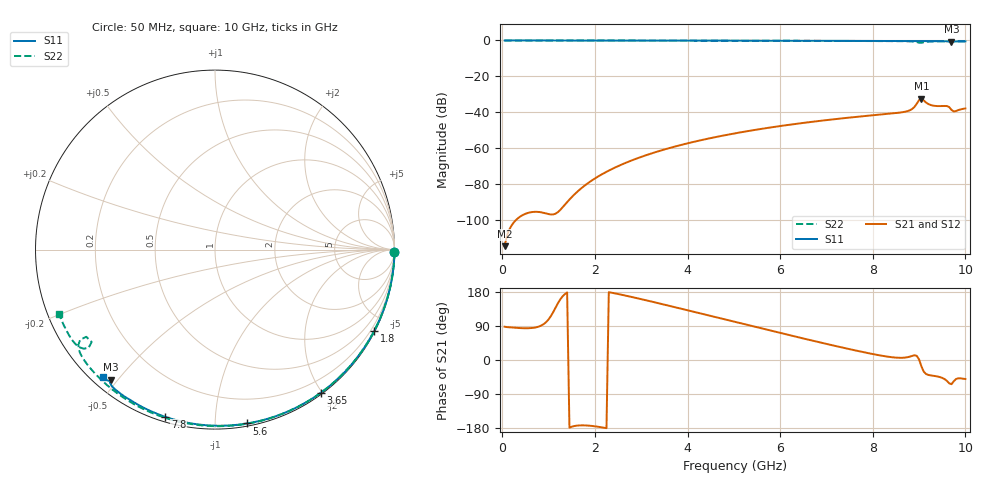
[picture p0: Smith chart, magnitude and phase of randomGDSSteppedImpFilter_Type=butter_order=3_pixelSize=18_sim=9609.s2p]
! freq	dB(S11)	phase(S11)	dB(S12)	phase(S12)
!  dB(S21)	phase(S21)	dB(S22)	phase(S22)
!S-par simulation data
#  GHz  S  DB  R 50
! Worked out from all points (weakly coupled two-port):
!   200 points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, 50 MHz to 10 GHz, reference 50 ohm
!   highest |S21| = -32.42 dB at 9.05 GHz (marker M1); lowest = -114.4 dB at 50 MHz (marker M2)
!   lowest |S11| = -0.7 dB at 9.7 GHz (marker M3), VSWR 26.60, Z = 2.32 - j24.1 ohm
!   |S11| at or under -10 dB: nowhere
!   |S22| runs from -1.3 to 0.0 dB; largest |S21 - S12| = 0
!   S11 on the Smith chart (normalised r, x): 50 MHz: open; 1.8 GHz: 0.04, -4.16; 3.65 GHz: 0.02, -1.98; 5.6 GHz: 0.02, -1.20; 7.8 GHz: 0.02, -0.75; 10 GHz: 0.03, -0.45
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0.05  -0.00 -0.8  -114.39 87.8  -114.39 87.8  -0.00 -0.9
0.85  -0.02 -12.9  -95.61 91.5  -95.61 91.5  -0.02 -15.5
1.75  -0.03 -26.3  -81.28 -172.4  -81.28 -172.4  -0.04 -31.6
1.8  -0.03 -27.0  -80.29 -172.6  -80.29 -172.6  -0.04 -32.5
2.5  -0.05 -37.2  -69.89 174.2  -69.89 174.2  -0.06 -44.7
3.4  -0.07 -50.0  -61.39 149.0  -61.39 149.0  -0.08 -59.9
3.65  -0.07 -53.5  -59.54 141.7  -59.54 141.7  -0.09 -64.1
5.05  -0.11 -72.4  -51.53 99.7  -51.53 99.7  -0.13 -86.4
5.6  -0.13 -79.6  -49.14 83.3  -49.14 83.3  -0.16 -94.8
6.7  -0.18 -93.4  -45.20 51.0  -45.20 51.0  -0.22 -111.1
7.8  -0.25 -106.6  -42.10 20.6  -42.10 20.6  -0.30 -127.1
8.35  -0.29 -113.1  -40.75 8.3  -40.75 8.3  -0.35 -135.2
8.8  -0.33 -118.3  -38.83 8.9  -38.83 8.9  -0.49 -142.8
8.9  -0.34 -119.4  -36.95 12.4  -36.95 12.4  -0.66 -145.2
9  -0.34 -120.5  -33.16 1.3  -33.16 1.3  -1.24 -145.9
9.05  -0.34 -121.1  -32.42 -16.7  -32.42 -16.7  -1.33 -143.2
9.15  -0.35 -122.4  -34.51 -36.9  -34.51 -36.9  -0.76 -143.0
9.25  -0.36 -123.6  -35.89 -40.6  -35.89 -40.6  -0.58 -145.2
9.6  -0.49 -128.2  -36.48 -55.0  -36.48 -55.0  -0.51 -151.3
9.7  -0.65 -128.5  -38.61 -63.8  -38.61 -63.8  -0.52 -152.8
9.75  -0.60 -128.5  -39.54 -55.8  -39.54 -55.8  -0.52 -153.6
10  -0.47 -131.4  -37.80 -50.2  -37.80 -50.2  -0.54 -157.4
